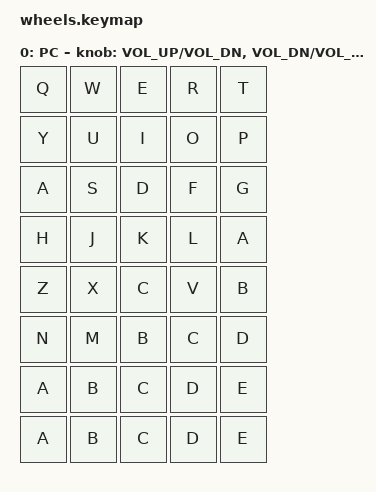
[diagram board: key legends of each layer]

/*
* Copyright (c) 2020 The ZMK Contributors
* SPDX-License-Identifier: MIT
*/

#include <behaviors.dtsi>
#include <dt-bindings/zmk/keys.h>
#include <dt-bindings/zmk/bt.h>

#define PC 0

/ {
    behaviors {
        hm: homerow_mods {
            compatible = "zmk,behavior-hold-tap";
            label = "HOMEROW_MODS";
            #binding-cells = <2>;
            tapping-term-ms = <300>;
            quick-tap-ms = <200>;
            flavor = "tap-preferred";
            bindings = <&kp>, <&kp>;
        };
    };

    keymap {
        compatible = "zmk,keymap";

        PC_layer {
            label = "PC";

            sensor-bindings = < 
              &inc_dec_kp C_VOL_UP C_VOL_DN  // left_horizonal_encoder  
              &inc_dec_kp C_VOL_DN C_VOL_UP // left_vertical_encoder
              >;

            bindings = <
                &kp Q  &kp W  &kp E  &kp R  &kp T
                &kp Y  &kp U  &kp I  &kp O  &kp P

                &kp A  &kp S  &kp D  &kp F  &kp G
                &kp H  &kp J  &kp K  &kp L  &kp A

                &kp Z  &kp X  &kp C  &kp V  &kp B
                &kp N  &kp M  &kp B  &kp C  &kp D

                &kp A  &kp B  &kp C  &kp D  &kp E
                &kp A  &kp B  &kp C  &kp D  &kp E
            >;
        };
    };
};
